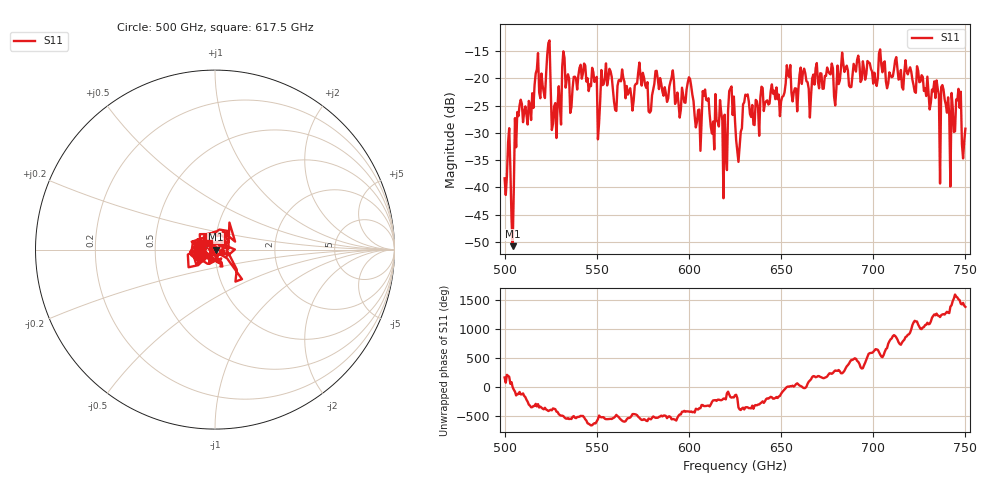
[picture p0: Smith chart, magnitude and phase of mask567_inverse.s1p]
!Created with skrf (http://scikit-rf.org).
# GHz S MA R 50.0
!freq magS11 angS11
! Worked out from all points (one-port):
!   401 points, 500 GHz to 750 GHz, reference 50 ohm
!   lowest |S11| = -50.8 dB at 504.4 GHz (marker M1), VSWR 1.01, Z = 50.3 - j0.0276 ohm
!   |S11| at or under -10 dB: start of sweep to end of sweep
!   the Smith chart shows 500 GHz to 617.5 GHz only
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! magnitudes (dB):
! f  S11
! 500 GHz  -38.4
! 501.9 GHz  -31.8
! 504.4 GHz  -50.8
! 508.1 GHz  -24.9
! 523.8 GHz  -13.5
! 526.9 GHz  -25.1
! 531.2 GHz  -17.8
! 548.8 GHz  -20.7
! 550.6 GHz  -31.2
! 562.5 GHz  -20.3
! 593.8 GHz  -22.6
! 600.6 GHz  -20.1
! 605 GHz  -25.8
! 608.8 GHz  -22.0
! 612.5 GHz  -30.1
! 616.9 GHz  -24.0
! 619.4 GHz  -26.7
! 622.5 GHz  -21.9
! 625 GHz  -27.8
! 626.9 GHz  -35.3
! 630.6 GHz  -23.0
! 656.2 GHz  -24.2
! 687.5 GHz  -21.6
! 718.8 GHz  -19.3
! 738.1 GHz  -22.0
! 743.1 GHz  -25.3
! 746.2 GHz  -21.9
! 750 GHz  -29.2
